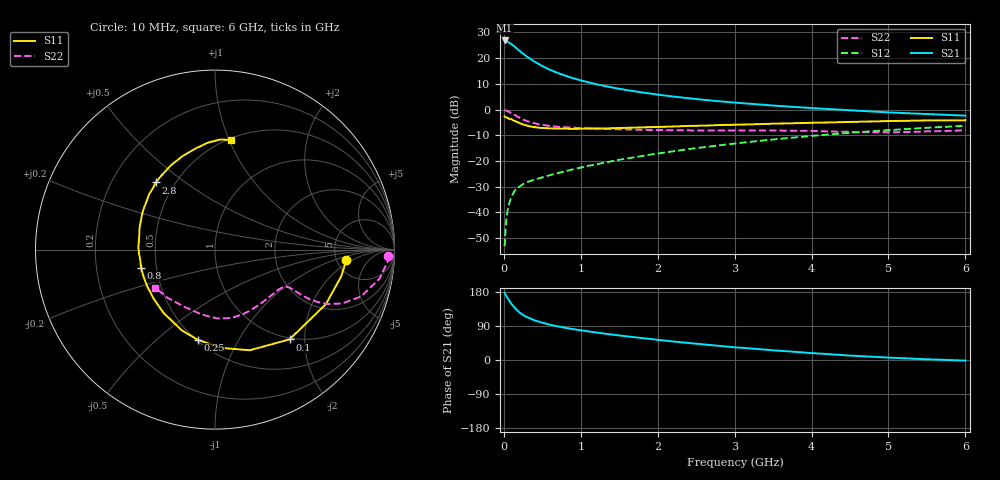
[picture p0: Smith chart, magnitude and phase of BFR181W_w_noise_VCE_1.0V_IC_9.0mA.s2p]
! (c) 2017  Infineon Technologies AG, Munich
! Infineon Technologies  Discrete & RF Semiconductors
! BFR181W
! VCE =  1.0 V,  IC =  9.0 mA
! Common Emitter S-Parameters:  Jan 2017
# GHz  S  MA  R  50
!  f  S11  S21  S12  S22
! GHz  MAG  ANG  MAG  ANG  MAG  ANG  MAG  ANG
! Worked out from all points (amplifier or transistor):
!   77 points, 10 MHz to 6 GHz, reference 50 ohm
!   highest |S21| = 26.9 dB at 10 MHz (marker M1)
!   |S21| within 3 dB of that: start of sweep to 164.1 MHz
!   unconditionally stable (mu >= 1): 622.5 MHz to 3.394 GHz
!   at 130 MHz: K = 0.33, MSG = 28.4 dB, |S12| = -32.2 dB
!   at 2.2 GHz: K = 1.16, MAG = 8.2 dB, |S12| = -16.3 dB
!   at 6 GHz: K = 0.94, MSG = 2.0 dB, |S12| = -6.3 dB
!   lowest NFmin = 1.18 dB at 450 MHz
!   S11 on the Smith chart (normalised r, x): 10 MHz: 6.09, -1.59; 100 MHz: 0.97, -1.69; 250 MHz: 0.51, -0.69; 800 MHz: 0.41, -0.10; 2.8 GHz: 0.39, +0.39; 6 GHz: 0.52, +1.02
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0.01  0.7339 -4.7  22.03 177.4  0.0022 91.8  0.9634 -2.0
0.02  0.7188 -12.0  21.79 172.9  0.0041 85.9  0.9644 -3.9
0.05  0.6886 -26.2  20.91 162.8  0.0112 78.7  0.9309 -10.0
0.1  0.6502 -50.3  18.69 147.5  0.0205 68.9  0.8537 -17.9
0.15  0.5932 -71.0  16.26 135.6  0.0274 61.0  0.7689 -23.0
0.2  0.5476 -87.0  14.01 126.0  0.0314 56.9  0.6964 -25.8
0.25  0.5111 -100.9  12.19 118.7  0.0355 54.3  0.6399 -27.1
0.3  0.4867 -112.3  10.66 113.0  0.0387 53.3  0.5955 -27.7
0.4  0.4546 -129.1  8.49 104.4  0.0433 53.3  0.5371 -27.6
0.5  0.4373 -141.9  6.982 98.2  0.0479 54.2  0.5019 -27.4
0.6  0.4294 -151.7  5.929 93.1  0.0529 56.0  0.479 -27.1
0.7  0.4254 -159.4  5.141 88.8  0.0579 58.1  0.4626 -27.0
0.8  0.4241 -166.2  4.546 84.9  0.0633 59.9  0.452 -27.4
0.9  0.4204 -171.9  4.062 81.5  0.0688 60.9  0.4432 -27.9
1.1  0.4272 178.6  3.374 75.5  0.0805 63.5  0.4303 -29.5
1.5  0.4373 164.0  2.528 64.8  0.1051 66.4  0.4125 -34.5
2.1  0.4623 147.0  1.868 51.1  0.1463 67.1  0.3966 -45.7
2.8  0.499 131.4  1.447 37.2  0.2008 65.1  0.3922 -61.2
3.1  0.5098 125.4  1.327 32.1  0.2262 63.4  0.3907 -67.8
4.1  0.5555 107.2  1.046 17.0  0.3151 55.7  0.3791 -90.9
5.1  0.5992 92.7  0.865 5.5  0.4056 45.6  0.3622 -121.4
6  0.6179 81.5  0.759 -1.7  0.4825 35.6  0.395 -147.6
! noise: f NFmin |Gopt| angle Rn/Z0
0.45  1.18  0.17  16  0.21
0.9  1.23  0.16  31  0.21
1.9  1.65  0.05  107  0.2
2.4  1.82  0.03  116  0.23
